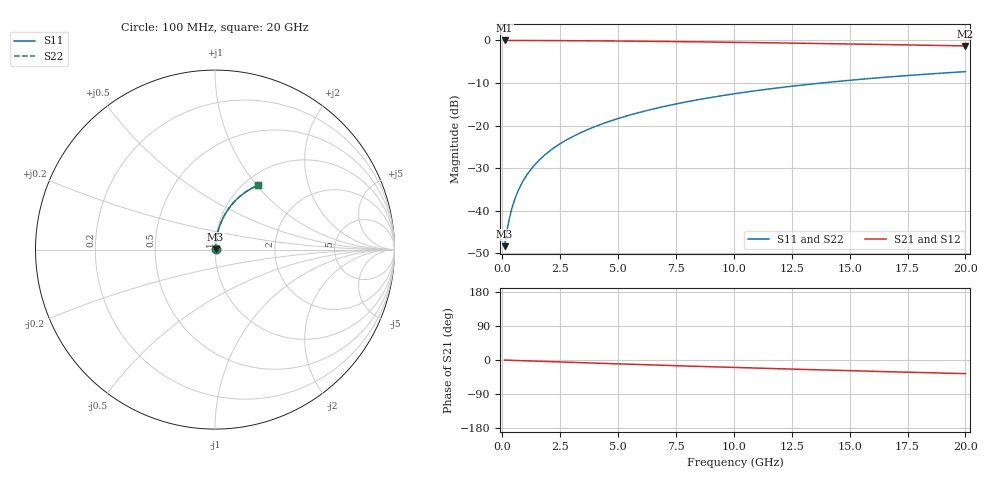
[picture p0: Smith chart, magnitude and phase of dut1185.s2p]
! Touchstone file exported from HFSS 2024.1.0
!  File:  C:/UserFiles/LocalFiles/RDL_TSV_Batchsim/temp_RDL_bottom_1185_1780057403.aedt
!  Generated:  08:25:58 PM May 29, 2026
!  Design:  RDL_bottom
!  Project:  temp_RDL_bottom_1185_1780057403
!  Setup:  Setup1
!  Solution:  Sweep
! Variables:
!  dtsv = 10.80580581um
!  hbump = 3um
!  htsv = 73.37um
!  ldown = 443.26um
!  lrdl = 100um
!  p = 40
!  p1 = 52.03um
!  rhole = 1um
!  t = 450um
!  tdown = 4.89um
!  trdl = 3.915915916um
!  wdown = 11.32um
!  wrdl = 20um
# GHz S MA R 50.000000
! Terminal data exported
! Port[1] = RDL1_T1
! Port[2] = RDL1_T2
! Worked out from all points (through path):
!   200 points, 100 MHz to 20 GHz, reference 50 ohm
!   highest |S21| = -0.03 dB at 100 MHz (marker M1); lowest = -1.3 dB at 20 GHz (marker M2)
!   group delay of S21, straight-line fit = 5 ps
!   lowest |S11| = -48.3 dB at 100 MHz (marker M3), VSWR 1.01, Z = 50.3 + j0.252 ohm
!   |S11| at or under -10 dB: start of sweep to 13.82 GHz
!   |S22| runs from -48.3 to -7.3 dB; largest |S21 - S12| = 3.5e-15
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0.1  0.003831 40.8  0.9971 -0.2  0.9971 -0.2  0.003831 40.8
! Gamma 0 0 0 0
! Port Impedance 50 0 50 0
0.2  0.005744 59.8  0.997 -0.4  0.997 -0.4  0.005743 59.8
0.3  0.007967 68.5  0.997 -0.6  0.997 -0.6  0.007965 68.5
0.4  0.0103 73.2  0.9969 -0.8  0.9969 -0.8  0.0103 73.2
0.5  0.01268 76.1  0.9968 -1.1  0.9968 -1.1  0.01268 76.1
0.6  0.01509 77.9  0.9967 -1.3  0.9967 -1.3  0.01509 77.9
0.8  0.01994 80.2  0.9964 -1.7  0.9964 -1.7  0.01994 80.2
1.1  0.02724 81.8  0.996 -2.3  0.996 -2.3  0.02724 81.8
1.5  0.03697 82.6  0.9953 -3.1  0.9953 -3.1  0.03697 82.6
1.8  0.04425 82.8  0.9947 -3.8  0.9947 -3.8  0.04425 82.7
2.1  0.05151 82.7  0.9939 -4.4  0.9939 -4.4  0.05151 82.7
2.7  0.06597 82.4  0.9921 -5.6  0.9921 -5.6  0.06597 82.4
3.5  0.08513 81.5  0.9892 -7.2  0.9892 -7.2  0.08513 81.5
4.2  0.1018 80.7  0.9861 -8.6  0.9861 -8.6  0.1018 80.7
5  0.1208 79.6  0.9821 -10.2  0.9821 -10.2  0.1208 79.6
5.9  0.1419 78.3  0.977 -12.0  0.977 -12.0  0.1419 78.3
6.8  0.1629 77.0  0.9715 -13.7  0.9715 -13.7  0.1629 76.9
8.3  0.1974 74.6  0.9613 -16.5  0.9613 -16.5  0.1974 74.6
10.1  0.2377 71.8  0.9479 -19.8  0.9479 -19.8  0.2377 71.8
13.4  0.3078 66.5  0.9207 -25.5  0.9207 -25.5  0.3077 66.5
16.7  0.3718 61.3  0.8912 -30.9  0.8912 -30.9  0.3718 61.3
20  0.4291 56.4  0.8606 -36.0  0.8606 -36.0  0.4291 56.4
